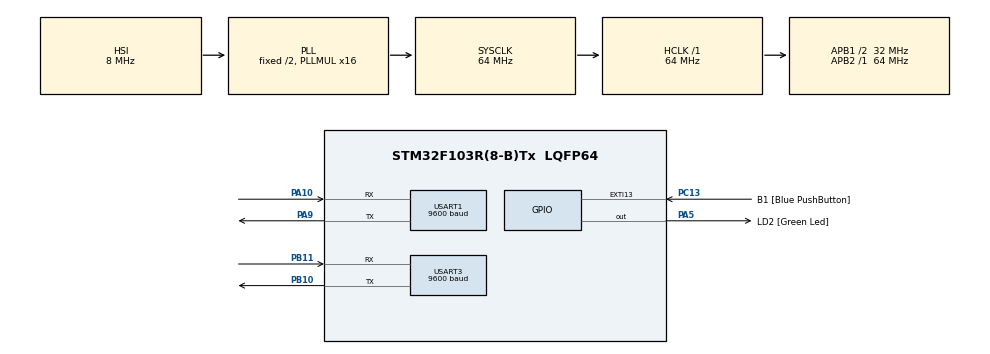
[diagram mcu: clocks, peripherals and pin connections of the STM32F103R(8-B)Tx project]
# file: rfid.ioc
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Mcu.Family=STM32F1
Mcu.Name=STM32F103R(8-B)Tx
Mcu.Package=LQFP64
NVIC.EXTI15_10_IRQn=true\:0\:0\:false\:false\:true\:true\:true\:true
NVIC.PriorityGroup=NVIC_PRIORITYGROUP_4
NVIC.USART1_IRQn=true\:0\:0\:true\:false\:true\:true\:true\:true
NVIC.USART3_IRQn=true\:0\:0\:true\:false\:true\:true\:true\:true
PA10.Mode=Asynchronous
PA10.Signal=USART1_RX
PA13.GPIO_Label=TMS
PA13.Mode=Serial_Wire
PA13.Signal=SYS_JTMS-SWDIO
PA14.GPIO_Label=TCK
PA14.Mode=Serial_Wire
PA14.Signal=SYS_JTCK-SWCLK
PA2.GPIO_Label=USART2_TX
PA2.GPIO_Mode=GPIO_MODE_AF_PP
PA2.GPIO_PuPd=GPIO_NOPULL
PA2.GPIO_Speed=GPIO_SPEED_FREQ_LOW
PA2.Signal=USART2_TX
PA3.GPIO_Label=USART2_RX
PA3.GPIO_Mode=GPIO_MODE_AF_PP
PA3.GPIO_PuPd=GPIO_NOPULL
PA3.GPIO_Speed=GPIO_SPEED_FREQ_LOW
PA3.Signal=USART2_RX
PA5.GPIO_Label=LD2 [Green Led]
PA5.GPIO_ModeDefaultOutputPP=GPIO_MODE_OUTPUT_PP
PA5.GPIO_PuPd=GPIO_NOPULL
PA5.GPIO_Speed=GPIO_SPEED_FREQ_LOW
PA5.Signal=GPIO_Output
PA9.Mode=Asynchronous
PA9.Signal=USART1_TX
PB10.Mode=Asynchronous
PB10.Signal=USART3_TX
PB11.Mode=Asynchronous
PB11.Signal=USART3_RX
PB3.GPIO_Label=SWO
PB3.Signal=SYS_JTDO-TRACESWO
PC13-TAMPER-RTC.GPIO_Label=B1 [Blue PushButton]
PC13-TAMPER-RTC.GPIO_PuPd=GPIO_NOPULL
PC13-TAMPER-RTC.Signal=GPXTI13
PC14-OSC32_IN.Mode=LSE-External-Oscillator
PC14-OSC32_IN.Signal=RCC_OSC32_IN
PC15-OSC32_OUT.Mode=LSE-External-Oscillator
PC15-OSC32_OUT.Signal=RCC_OSC32_OUT
PD0-OSC_IN.Mode=HSE-External-Clock-Source
PD0-OSC_IN.Signal=RCC_OSC_IN
PD1-OSC_OUT.Mode=HSE-External-Clock-Source
PD1-OSC_OUT.Signal=RCC_OSC_OUT
ProjectManager.HeapSize=0x200
ProjectManager.StackSize=0x400
ProjectManager.TargetToolchain=STM32CubeIDE
RCC.AHBFreq_Value=64000000
RCC.APB1CLKDivider=RCC_HCLK_DIV2
RCC.APB1Freq_Value=32000000
RCC.APB1TimFreq_Value=64000000
RCC.APB2Freq_Value=64000000
RCC.APB2TimFreq_Value=64000000
RCC.HCLKFreq_Value=64000000
RCC.PLLMUL=RCC_PLL_MUL16
RCC.RTCClockSelection=RCC_RTCCLKSOURCE_LSE
RCC.SYSCLKFreq_VALUE=64000000
RCC.SYSCLKSource=RCC_SYSCLKSOURCE_PLLCLK
RCC.USBFreq_Value=64000000
USART1.BaudRate=9600
USART1.VirtualMode=VM_ASYNC
USART3.BaudRate=9600
USART3.VirtualMode=VM_ASYNC
board=NUCLEO-F103RB

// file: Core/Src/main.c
/* USER CODE BEGIN Header */
/**
  ******************************************************************************
  * @file           : main.c
  * @brief          : Main program body
  ******************************************************************************
  * @attention
  *
  * Copyright (c) 2024 STMicroelectronics.
  * All rights reserved.
  *
  * This software is licensed under terms that can be found in the LICENSE file
  * in the root directory of this software component.
  * If no LICENSE file comes with this software, it is provided AS-IS.
  *
  ******************************************************************************
  */
/* USER CODE END Header */
#include "main.h"
#include "usart.h"
#include "gpio.h"

/* USER CODE BEGIN PV */

uint8_t rxData[64]; // Array to store received bytes
uint8_t processedData[13]; // Array to store data without start and end byte
uint8_t flag = 0; // Flag to indicate data reception is complete
uint8_t responseData;      // To store the boolean response (0 for false, 1 for true)
uint8_t flagSuccess = 0;   // Flag to indicate if 'true' was received
uint8_t flagFailure = 0;   // Flag to indicate if 'false' was received
char usermsg[12];
int v = 0;
int flag_rev=0;

/* USER CODE END PV */

void SystemClock_Config(void);

int main(void)
{

  /* MCU Configuration--------------------------------------------------------*/

  /* Reset of all peripherals, Initializes the Flash interface and the Systick. */
  HAL_Init();

  /* Configure the system clock */
  SystemClock_Config();

  /* Initialize all configured peripherals */
  MX_GPIO_Init();
  MX_USART1_UART_Init();
  MX_USART3_UART_Init();
  /* USER CODE BEGIN 2 */
  HAL_UART_Receive_IT(&huart1, rxData, sizeof(rxData));

  /* USER CODE END 2 */

  /* Infinite loop */
  /* USER CODE BEGIN WHILE */
  while (1)
  {

	  if(flag_rev==1)
	  {
	   HAL_UART_Transmit_IT(&huart3, usermsg, sizeof(usermsg));
	   flag_rev=0;

	  }
	  HAL_Delay(1000);
    /* USER CODE END WHILE */

  }
}

void SystemClock_Config(void)
{
  RCC_OscInitTypeDef RCC_OscInitStruct = {0};
  RCC_ClkInitTypeDef RCC_ClkInitStruct = {0};

  /** Initializes the RCC Oscillators according to the specified parameters
  * in the RCC_OscInitTypeDef structure.
  */
  RCC_OscInitStruct.OscillatorType = RCC_OSCILLATORTYPE_HSI;
  RCC_OscInitStruct.HSIState = RCC_HSI_ON;
  RCC_OscInitStruct.HSICalibrationValue = RCC_HSICALIBRATION_DEFAULT;
  RCC_OscInitStruct.PLL.PLLState = RCC_PLL_ON;
  RCC_OscInitStruct.PLL.PLLSource = RCC_PLLSOURCE_HSI_DIV2;
  RCC_OscInitStruct.PLL.PLLMUL = RCC_PLL_MUL16;
  if (HAL_RCC_OscConfig(&RCC_OscInitStruct) != HAL_OK)
  {
    Error_Handler();
  }

  /** Initializes the CPU, AHB and APB buses clocks
  */
  RCC_ClkInitStruct.ClockType = RCC_CLOCKTYPE_HCLK|RCC_CLOCKTYPE_SYSCLK
                              |RCC_CLOCKTYPE_PCLK1|RCC_CLOCKTYPE_PCLK2;
  RCC_ClkInitStruct.SYSCLKSource = RCC_SYSCLKSOURCE_PLLCLK;
  RCC_ClkInitStruct.AHBCLKDivider = RCC_SYSCLK_DIV1;
  RCC_ClkInitStruct.APB1CLKDivider = RCC_HCLK_DIV2;
  RCC_ClkInitStruct.APB2CLKDivider = RCC_HCLK_DIV1;

  if (HAL_RCC_ClockConfig(&RCC_ClkInitStruct, FLASH_LATENCY_2) != HAL_OK)
  {
    Error_Handler();
  }
}

/* USER CODE BEGIN 4 */

void HAL_UART_RxCpltCallback(UART_HandleTypeDef *huart) {
	if (huart->Instance == USART1) { // Check if the interrupt is from USART1
	        // Process the received data
	        for (int i = 0; i < 12; i++) {
	            processedData[i] = rxData[i + 1]; // Skip the first byte and take the next 12 bytes
	        }
	        processedData[12] = '\0'; // Add the null terminator at the end

	        sprintf(usermsg,"%s",processedData);

	        flag_rev=1;
	        v++;
	    	// Re-enable UART receive interrupt for USART1 to receive the next set of data
	    	HAL_UART_Receive_IT(&huart1, rxData, sizeof(rxData));
	    }

	if (huart->Instance == USART3) { // Check if the interrupt is from USART1
		HAL_UART_Receive_IT(&huart3, &responseData, 1);

        if (responseData == 1) { // If the response is true
            flagSuccess = 1;
        }
        else if (responseData == 0) { // If the response is false
            flagFailure = 1;
        }

	}

}

/* USER CODE END 4 */

void Error_Handler(void)
{
  __disable_irq();
  while (1)
  {
  }
}
